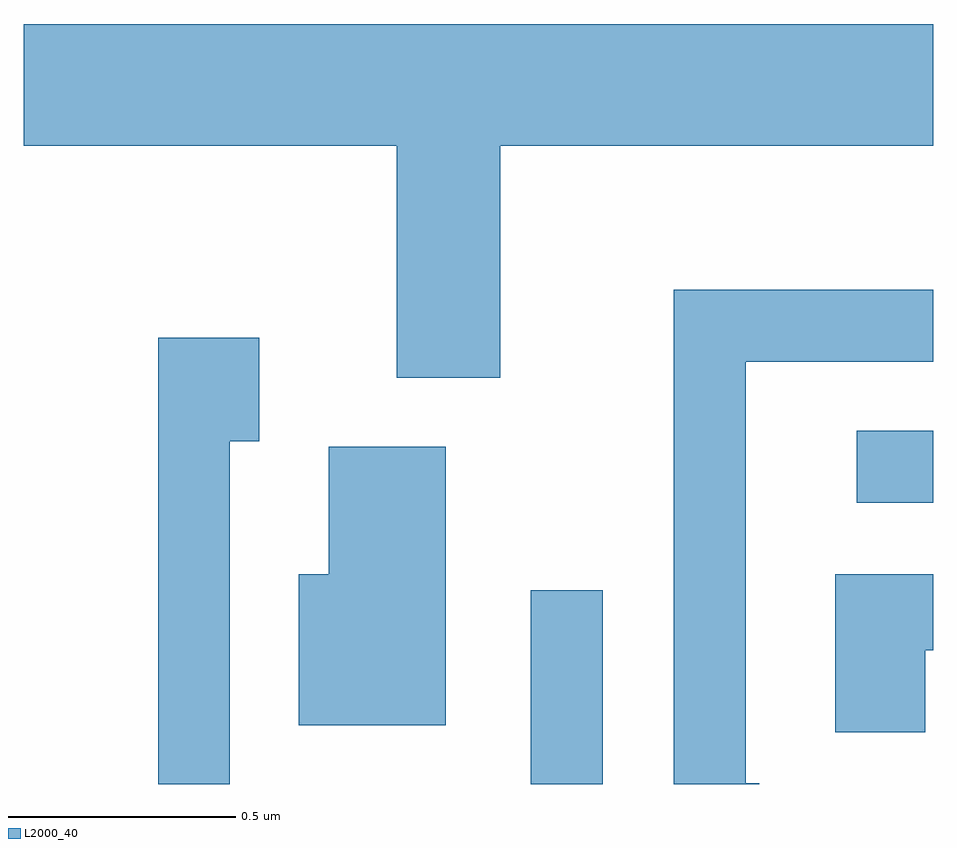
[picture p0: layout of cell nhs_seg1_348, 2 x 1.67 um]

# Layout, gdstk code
import gdstk
lib = gdstk.Library(unit=1e-6, precision=1e-09)
def R(c, l, rs):  # rectangles x0, y0, x1, y1
    for r in rs: c.add(gdstk.rectangle(r[:2], r[2:], *l))
def P(c, l, *ps):  # polygons
    for p in ps: c.add(gdstk.Polygon(p, *l))
L2000_40 = (2000, 40)

nhs_seg1_348 = lib.new_cell('nhs_seg1_348')
R(nhs_seg1_348, L2000_40, [(188.726,913.712,188.884,914.138), (189.443,914.331,189.611,914.489)])
P(nhs_seg1_348, L2000_40, [(188.659,915.116),(189.611,915.116),(189.611,915.384),(187.611,915.384),(187.611,915.116),(188.431,915.116),(188.431,914.606),(188.659,914.606)],
  [(189.229,913.714),(189.199,913.714),(189.199,914.641),(189.611,914.641),(189.611,914.799),(189.041,914.799),(189.041,913.712),(189.229,913.712)],
  [(188.064,914.466),(188.129,914.466),(188.129,914.694),(187.906,914.694),(187.906,913.712),(188.064,913.712)],
  [(188.539,914.454),(188.281,914.454),(188.281,914.174),(188.216,914.174),(188.216,913.841),(188.539,913.841)],
  [(189.594,914.006),(189.611,914.006),(189.611,914.174),(189.396,914.174),(189.396,913.826),(189.594,913.826)])

lib.write_gds('nhs_seg1_348.gds')
